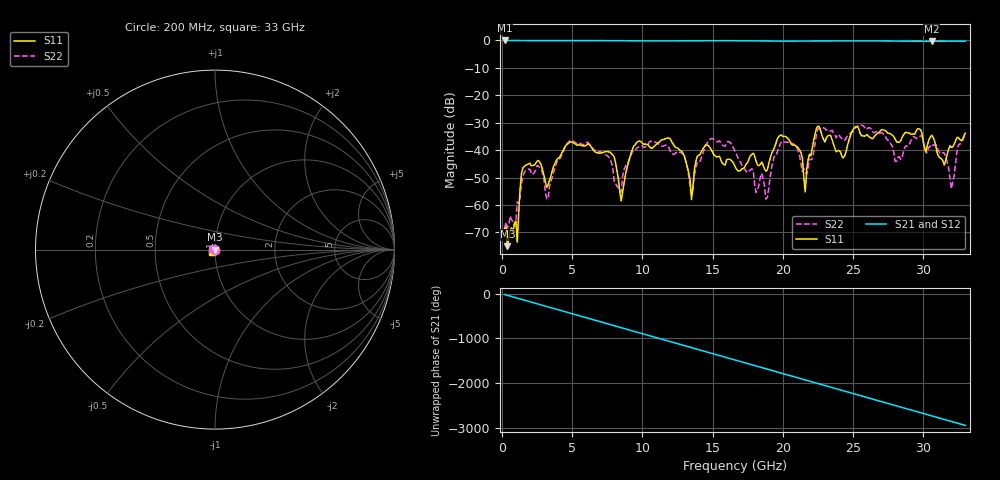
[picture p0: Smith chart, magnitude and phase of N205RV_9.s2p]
# GHZ S RI R 50
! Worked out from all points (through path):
!   329 points, 200 MHz to 33 GHz, reference 50 ohm
!   highest |S21| = -0.02 dB at 200 MHz (marker M1); lowest = -0.3 dB at 30.6 GHz (marker M2)
!   group delay of S21, straight-line fit = 248 ps
!   lowest |S11| = -75.0 dB at 400 MHz (marker M3), VSWR 1.00, Z = 50 + j0.0036 ohm
!   |S11| at or under -10 dB: start of sweep to end of sweep
!   |S22| runs from -68.5 to -30.7 dB; largest |S21 - S12| = 0.0019
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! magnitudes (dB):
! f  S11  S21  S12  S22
! 200 MHz  -68.6  0.0  0.0  -68.5
! 400 MHz  -75.0  0.0  0.0  -68.3
! 1.1 GHz  -73.6  -0.1  -0.1  -58.9
! 1.5 GHz  -46.5  -0.1  -0.1  -49.3
! 3.3 GHz  -52.6  -0.1  -0.1  -57.7
! 5.7 GHz  -38.4  -0.1  -0.1  -37.9
! 7.9 GHz  -41.8  -0.1  -0.1  -46.3
! 8.5 GHz  -58.5  -0.1  -0.1  -55.3
! 9.4 GHz  -38.4  -0.1  -0.1  -39.8
! 11.2 GHz  -37.0  -0.2  -0.2  -37.9
! 12.9 GHz  -41.1  -0.2  -0.2  -41.4
! 13.5 GHz  -58.0  -0.2  -0.2  -56.1
! 14.5 GHz  -38.2  -0.1  -0.1  -38.4
! 16.6 GHz  -45.9  -0.1  -0.1  -40.3
! 18.8 GHz  -47.7  -0.2  -0.2  -57.8
! 19.9 GHz  -34.5  -0.3  -0.3  -36.8
! 21.6 GHz  -55.3  -0.3  -0.3  -47.9
! 22.1 GHz  -39.3  -0.3  -0.3  -43.2
! 27.6 GHz  -33.9  -0.2  -0.2  -36.9
! 30.6 GHz  -34.6  -0.3  -0.3  -39.0
! 32 GHz  -39.0  -0.3  -0.3  -54.1
! 33 GHz  -33.8  -0.3  -0.2  -34.4
